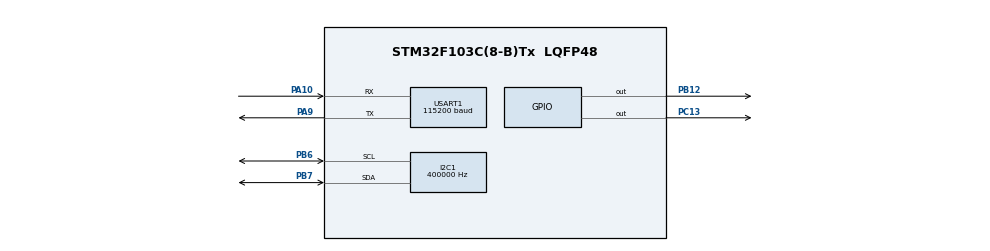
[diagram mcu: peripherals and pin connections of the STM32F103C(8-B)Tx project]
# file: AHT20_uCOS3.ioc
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I2C1.ClockSpeed=400000
I2C1.DutyCycle=I2C_DUTYCYCLE_2
I2C1.I2C_Mode=I2C_Fast
Mcu.Family=STM32F1
Mcu.Name=STM32F103C(8-B)Tx
Mcu.Package=LQFP48
NVIC.PriorityGroup=NVIC_PRIORITYGROUP_4
PA10.Mode=Asynchronous
PA10.Signal=USART1_RX
PA9.Mode=Asynchronous
PA9.Signal=USART1_TX
PB12.GPIO_Speed=GPIO_SPEED_FREQ_LOW
PB12.PinState=GPIO_PIN_RESET
PB12.Signal=GPIO_Output
PB6.Mode=I2C
PB6.Signal=I2C1_SCL
PB7.Mode=I2C
PB7.Signal=I2C1_SDA
PC13-TAMPER-RTC.GPIO_Speed=GPIO_SPEED_FREQ_LOW
PC13-TAMPER-RTC.PinState=GPIO_PIN_SET
PC13-TAMPER-RTC.Signal=GPIO_Output
ProjectManager.HeapSize=0x200
ProjectManager.StackSize=0x400
ProjectManager.TargetToolchain=MDK-ARM V5
RCC.APB1Freq_Value=8000000
RCC.APB2Freq_Value=8000000
USART1.BaudRate=115200
USART1.VirtualMode=VM_ASYNC
VP_SYS_VS_ND.Mode=No_Debug
board=custom

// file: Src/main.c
/* USER CODE BEGIN Header */
/**
  ******************************************************************************
  * @file           : main.c
  * @brief          : Main program body
  ******************************************************************************
  * @attention
  *
  * Copyright (c) 2026 STMicroelectronics.
  * All rights reserved.
  *
  * This software is licensed under terms that can be found in the LICENSE file
  * in the root directory of this software component.
  * If no LICENSE file comes with this software, it is provided AS-IS.
  *
  ******************************************************************************
  */
/* USER CODE END Header */
#include "main.h"
#include "i2c.h"
#include "gpio.h"
#include "usart.h"

/* USER CODE BEGIN Includes */
#include "board_config.h"
#include "bsp_i2c.h"
#include "app_tasks.h"
#include "os.h"
#include "diag.h"
#include "bsp_uart.h"
/* USER CODE END Includes */

void SystemClock_Config(void);

int main(void)
{

  /* MCU Configuration--------------------------------------------------------*/

  /* Reset of all peripherals, Initializes the Flash interface and the Systick. */
  HAL_Init();

  /* Configure the system clock */
  SystemClock_Config();

  /* Initialize all configured peripherals */
  MX_GPIO_Init();
  MX_I2C1_Init();
  MX_USART1_UART_Init();
  /* USER CODE BEGIN 2 */
  OS_ERR os_err;

  /* ================= 上电自检（排错第一现场） =================
   * 闪 3 下 = CPU 在跑、时钟配置成功、PC13 能点（灯亮不亮都要闪）
   * 然后打一行 [DIAG]，这一行出现在串口助手里 = PA9 + USB-TTL + 波特率都对
   * 如果连这 3 下都没有：问题不在内核，去看 Boot0 跳线 / 下载 / 复位。
   * ============================================================ */
#if (APP_DIAG_BOOT != 0)
  DIAG_Blink(3U, 120U, 120U);
  BSP_UART_Printf("\r\n[DIAG] CPU alive, HCLK=%lu Hz, USART1 ready\r\n",
                  (unsigned long)HAL_RCC_GetHCLKFreq());
#endif

#if (APP_DIAG_BARE != 0)
  DIAG_BareLoop();          /* 裸机自检：永不返回 */
#endif

  /* I2C 传输层：硬件 I2C1 或 GPIO 模拟，由 board_config.h 的 APP_I2C_USE_SOFT 选择 */
  if (BSP_I2C_Init() == 0U)
  {
    Error_Handler();
  }

  /* ---------------------------------------------------------------
   * uC/OS-III 初始化三步曲
   *   1) OSInit()      : 初始化内核（就绪表、空闲任务、统计任务、定时器任务）
   *   2) 创建用户任务   : 本项目在 App_TasksInit() 里用 OSTaskCreate 建 3 个任务
   *   3) OSStart()     : 启动调度器，从此永不返回
   * 注意：OSStart() 之前必须先给 SysTick 装好节拍（OS_CPU_SysTickInit），
   *       同时 SysTick_Handler/PendSV_Handler 已在 stm32f1xx_it.c 里交给内核。
   * --------------------------------------------------------------- */
#if (APP_DIAG_BOOT != 0)
  BSP_UART_Printf("[CHK] before OSInit\r\n");
#endif
  OSInit(&os_err);
  if (os_err != OS_ERR_NONE)
  {
    Error_Handler();
  }
#if (APP_DIAG_BOOT != 0)
  BSP_UART_Printf("[CHK] OSInit ok, err=%d\r\n", (int)os_err);
#endif

  /* 创建 3 个任务并打印开机信息 */
  App_TasksInit();
#if (APP_DIAG_BOOT != 0)
  BSP_UART_Printf("[CHK] App_TasksInit returned\r\n");
#endif

  /* 节拍 = HCLK / OS_CFG_TICK_RATE_HZ = 8MHz / 1000 = 8000 个计数。
     这里不用 SystemCoreClock 变量，而用寄存器实时算出来的 HAL_RCC_GetHCLKFreq()，
     免得时钟切换后变量没更新，节拍悄悄变成 9 倍慢（表现为"灯很久才动一下"）。 */
  OS_CPU_SysTickInit((CPU_INT32U)(HAL_RCC_GetHCLKFreq() / OS_CFG_TICK_RATE_HZ));
  BSP_UART_Printf("[%8lu ms] OS     systick reload = %lu, OSStart() ...\r\n",
                  (unsigned long)HAL_GetTick(),
                  (unsigned long)(HAL_RCC_GetHCLKFreq() / OS_CFG_TICK_RATE_HZ));

  /* 启动调度器：正常情况下永远不返回 */
  OSStart(&os_err);
  /* USER CODE END 2 */

  /* Infinite loop */
  while (1)
  {

    /* USER CODE BEGIN 3 */
    /* 走到这里说明调度器意外退出了，正常不会发生 */
  }
  /* USER CODE END 3 */
}

void SystemClock_Config(void)
{
  RCC_OscInitTypeDef RCC_OscInitStruct = {0};
  RCC_ClkInitTypeDef RCC_ClkInitStruct = {0};

  /** Initializes the RCC Oscillators according to the specified parameters
  * in the RCC_OscInitTypeDef structure.
  */
  RCC_OscInitStruct.OscillatorType = RCC_OSCILLATORTYPE_HSI;
  RCC_OscInitStruct.HSIState = RCC_HSI_ON;
  RCC_OscInitStruct.HSICalibrationValue = RCC_HSICALIBRATION_DEFAULT;
  RCC_OscInitStruct.PLL.PLLState = RCC_PLL_NONE;
  if (HAL_RCC_OscConfig(&RCC_OscInitStruct) != HAL_OK)
  {
    Error_Handler();
  }

  /** Initializes the CPU, AHB and APB buses clocks
  */
  RCC_ClkInitStruct.ClockType = RCC_CLOCKTYPE_HCLK|RCC_CLOCKTYPE_SYSCLK
                              |RCC_CLOCKTYPE_PCLK1|RCC_CLOCKTYPE_PCLK2;
  RCC_ClkInitStruct.SYSCLKSource = RCC_SYSCLKSOURCE_HSI;
  RCC_ClkInitStruct.AHBCLKDivider = RCC_SYSCLK_DIV1;
  RCC_ClkInitStruct.APB1CLKDivider = RCC_HCLK_DIV1;
  RCC_ClkInitStruct.APB2CLKDivider = RCC_HCLK_DIV1;

  if (HAL_RCC_ClockConfig(&RCC_ClkInitStruct, FLASH_LATENCY_0) != HAL_OK)
  {
    Error_Handler();
  }
}

void Error_Handler(void)
{
  /* USER CODE BEGIN Error_Handler_Debug */
  /* User can add his own implementation to report the HAL error return state */
  /* 停机前先让 PC13 快速闪 1 下/停 0.7s：一眼看出"程序跑到了 Error_Handler" */
  DIAG_Panic(1U);
  /* USER CODE END Error_Handler_Debug */
}
